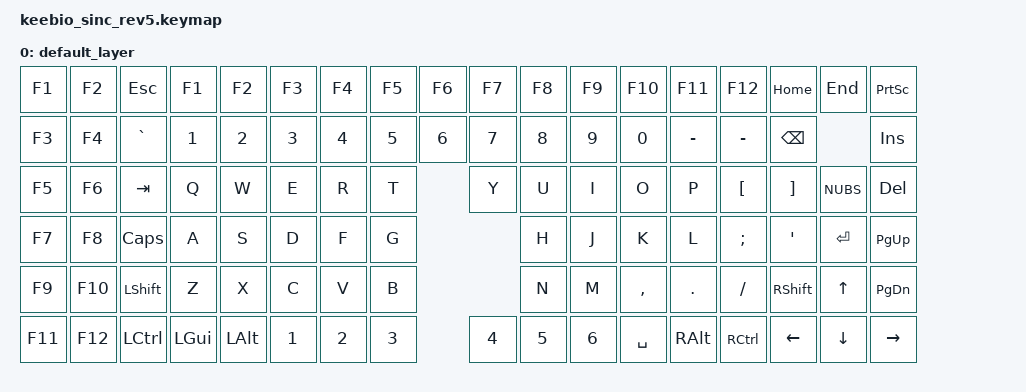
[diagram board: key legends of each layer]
/*
 * Copyright (c) 2020 The ZMK Contributors
 *
 * SPDX-License-Identifier: MIT
 */

#include <behaviors.dtsi>
#include <dt-bindings/zmk/bt.h>
#include <dt-bindings/zmk/keys.h>

#define BASE 0
#define LOWER 1
#define RAISE 2
#define ADJUST 3
#define TENTATIVE 4

/ {
    // Activate ADJUST layer by pressing raise and lower

    conditional_layers { compatible = "zmk,conditional-layers"; };

    keymap {
        compatible = "zmk,keymap";
        default_layer {
            bindings = <
				&kp F1    &kp F2        &kp ESC    &kp F1   &kp F2    &kp F3    &kp F4    &kp F5    &kp F6          &kp F7    &kp F8    &kp F9    &kp F10    &kp F11    &kp F12     &kp HOME      &kp END     &kp PSCRN
				&kp F3    &kp F4        &kp GRAVE  &kp N1   &kp N2    &kp N3    &kp N4    &kp N5    &kp N6          &kp N7    &kp N8    &kp N9    &kp N0     &kp MINUS  &kp MINUS       &kp BACKSPACE         &kp INS
				&kp F5    &kp F6        &kp TAB    &kp Q    &kp W     &kp E     &kp R     &kp T                     &kp Y     &kp U     &kp I     &kp O      &kp P      &kp LBKT    &kp RBKT      &kp NUBS    &kp DEL
				&kp F7    &kp F8        &kp CAPS   &kp A    &kp S     &kp D     &kp F     &kp G                     &kp H     &kp J     &kp K     &kp L      &kp SEMI   &kp SQT         &kp ENTER             &kp PG_UP
                &kp F9    &kp F10       &kp LSHIFT &kp Z    &kp X     &kp C     &kp V     &kp B                     &kp N     &kp M     &kp COMMA &kp DOT    &kp FSLH       &kp RSHIFT            &kp UP      &kp PG_DN
                &kp F11   &kp F12       &kp LCTRL  &kp LGUI &kp LALT  &kp N1    &kp N2    &kp N3                    &kp N4    &kp N5    &kp N6    &kp SPACE  &kp RALT   &kp RCTRL    &kp LEFT     &kp DOWN    &kp RIGHT

            >;
        };

    };
};
